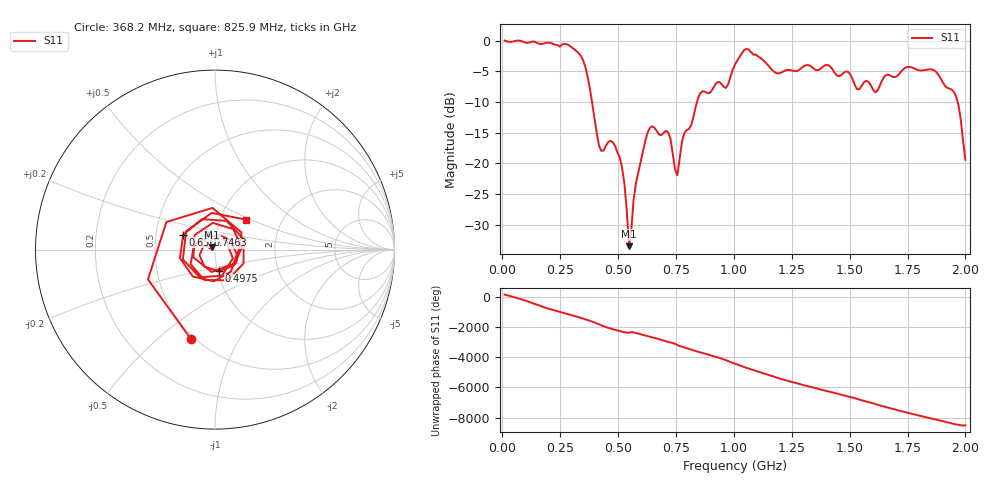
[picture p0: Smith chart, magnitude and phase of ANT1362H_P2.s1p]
!Created with skrf (http://scikit-rf.org).
# Hz S RI R 50.0
!freq ReS11 ImS11
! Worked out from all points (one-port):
!   201 points, 10 MHz to 2 GHz, reference 50 ohm
!   lowest |S11| = -33.5 dB at 547.3 MHz (marker M1), VSWR 1.04, Z = 48.3 + j1.25 ohm
!   |S11| at or under -10 dB: 387.5 MHz to 840.8 MHz (453.3 MHz wide, 73.8 % of centre); 1.967 GHz to end of sweep
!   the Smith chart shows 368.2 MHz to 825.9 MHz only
!   S11 on the Smith chart (normalised r, x): 368.2 MHz: 0.48, -0.65; 497.6 MHz: 1.01, -0.25; 656.8 MHz: 0.69, +0.12; 746.3 MHz: 0.91, +0.15; 825.9 MHz: 1.33, +0.47
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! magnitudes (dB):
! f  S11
! 10 MHz  0.0
! 258.8 MHz  -0.6
! 338.4 MHz  -2.4
! 368.2 MHz  -5.8
! 417.9 MHz  -17.1
! 497.6 MHz  -18.2
! 507.5 MHz  -19.0
! 527.4 MHz  -23.3
! 547.3 MHz  -33.5
! 577.1 MHz  -23.2
! 626.9 MHz  -15.1
! 656.8 MHz  -14.2
! 716.5 MHz  -15.0
! 746.3 MHz  -21.0
! 756.2 MHz  -21.9
! 786.1 MHz  -15.1
! 825.9 MHz  -12.3
! 855.8 MHz  -8.5
! 965.2 MHz  -7.7
! 1.005 GHz  -3.9
! 1.055 GHz  -1.3
! 1.254 GHz  -4.9
! 1.502 GHz  -5.5
! 1.612 GHz  -8.4
! 1.751 GHz  -4.3
! 1.95 GHz  -8.3
! 1.97 GHz  -10.5
! 2 GHz  -19.4
